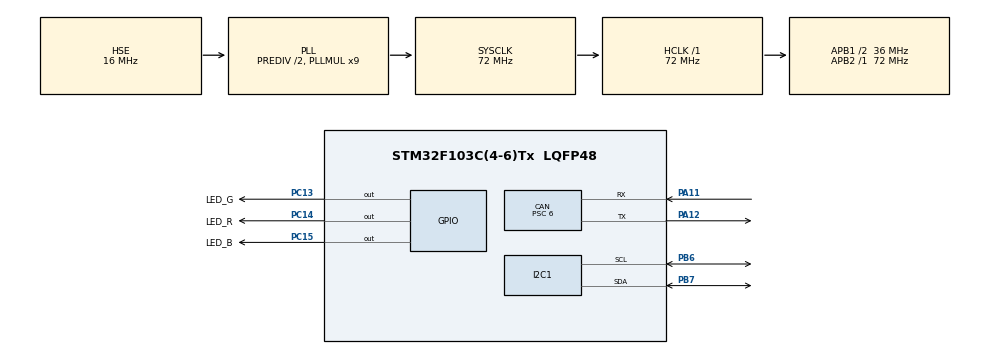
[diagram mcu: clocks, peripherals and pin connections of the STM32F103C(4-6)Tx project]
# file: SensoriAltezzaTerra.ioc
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CAN.BS1=CAN_BS1_3TQ
CAN.BS2=CAN_BS2_2TQ
CAN.CalculateBaudRate=999999
CAN.CalculateTimeBit=1000
CAN.CalculateTimeQuantum=166.66666666666669
CAN.Prescaler=6
CAN.SJW=CAN_SJW_2TQ
I2C1.I2C_Mode=I2C_Standard
Mcu.Family=STM32F1
Mcu.Name=STM32F103C(4-6)Tx
Mcu.Package=LQFP48
NVIC.PriorityGroup=NVIC_PRIORITYGROUP_4
PA11.Mode=CAN_Activate
PA11.Signal=CAN_RX
PA12.Mode=CAN_Activate
PA12.Signal=CAN_TX
PA13.Mode=Serial_Wire
PA13.Signal=SYS_JTMS-SWDIO
PA14.Mode=Serial_Wire
PA14.Signal=SYS_JTCK-SWCLK
PB6.GPIO_Pu=GPIO_PULLUP
PB6.Mode=I2C
PB6.Signal=I2C1_SCL
PB7.GPIO_Pu=GPIO_PULLUP
PB7.Mode=I2C
PB7.Signal=I2C1_SDA
PC13-TAMPER-RTC.GPIO_Label=LED_G
PC13-TAMPER-RTC.PinState=GPIO_PIN_SET
PC13-TAMPER-RTC.Signal=GPIO_Output
PC14-OSC32_IN.GPIO_Label=LED_R
PC14-OSC32_IN.PinState=GPIO_PIN_SET
PC14-OSC32_IN.Signal=GPIO_Output
PC15-OSC32_OUT.GPIO_Label=LED_B
PC15-OSC32_OUT.PinState=GPIO_PIN_SET
PC15-OSC32_OUT.Signal=GPIO_Output
PD0-OSC_IN.Mode=HSE-External-Oscillator
PD0-OSC_IN.Signal=RCC_OSC_IN
PD1-OSC_OUT.Mode=HSE-External-Oscillator
PD1-OSC_OUT.Signal=RCC_OSC_OUT
ProjectManager.HeapSize=0x200
ProjectManager.StackSize=0x400
ProjectManager.TargetToolchain=STM32CubeIDE
RCC.AHBFreq_Value=72000000
RCC.APB1CLKDivider=RCC_HCLK_DIV2
RCC.APB1Freq_Value=36000000
RCC.APB1TimFreq_Value=72000000
RCC.APB2Freq_Value=72000000
RCC.APB2TimFreq_Value=72000000
RCC.HCLKFreq_Value=72000000
RCC.HSEDivPLL=RCC_HSE_PREDIV_DIV2
RCC.HSE_VALUE=16000000
RCC.PLLMUL=RCC_PLL_MUL9
RCC.PLLSourceVirtual=RCC_PLLSOURCE_HSE
RCC.SYSCLKFreq_VALUE=72000000
RCC.SYSCLKSource=RCC_SYSCLKSOURCE_PLLCLK
RCC.USBFreq_Value=72000000
board=custom

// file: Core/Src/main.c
/* USER CODE BEGIN Header */
/**
  ******************************************************************************
  * @file           : main.c
  * @brief          : Main program body
  ******************************************************************************
  * @attention
  *
  * Copyright (c) 2023 STMicroelectronics.
  * All rights reserved.
  *
  * This software is licensed under terms that can be found in the LICENSE file
  * in the root directory of this software component.
  * If no LICENSE file comes with this software, it is provided AS-IS.
  *
  ******************************************************************************
  */
/* USER CODE END Header */
#include "main.h"
#include "can.h"
#include "i2c.h"
#include "gpio.h"

/* USER CODE BEGIN PD */

#define map(x, in_min, in_max, out_min, out_max) ((x - in_min) * (out_max - out_min) / (in_max - in_min) + out_min)

#define ADS_ADDRESS 						(0b01001001	<< 1)	//the last 2 bits depends from the electrical connection (see datasheet)
#define ADS_CONVERSION_REGISTER				0b00000000
#define ADS_CONFIGURATION_REGISTER			0b00000001
#define ADS_LO_THRESH_REGISTER				0b00000010
#define ADS_HI_THRESH_REGISTER				0b00000011

/* USER CODE END PD */

/* USER CODE BEGIN PV */

uint8_t adsBuffer[8];
int16_t adsReading1;
int16_t adsReading2;
float adsVread1;
float adsVread2;
float adsVmod1;
float adsVmod2;
float adsDistance1;
float adsDistance2;

#define voltageConv ((float) (6.114 / 32768.0));

#define BOARD_ID	1

#define BOARD1_CAN_ID	0x318
#define BOARD2_CAN_ID	0x314

#if BOARD_ID == 1

#define BOARD_CAN_ID	BOARD1_CAN_ID

#elif BOARD_ID == 2

#define BOARD_CAN_ID	BOARD2_CAN_ID

#endif

CAN_TxHeaderTypeDef 	pHeader; 						//declare a specific header for message transmissions
CAN_RxHeaderTypeDef 	pRxHeader; 						//declare header for message reception
uint32_t 				TxMailbox;
CAN_FilterTypeDef 		sFilterConfig1;

uint32_t millisCanTransmission = 0;
#define  canTrasmissionDelay			5				//200Hz

uint8_t canTx[8] = {0, 0, 0, 0, 0, 0, 0, 0};
uint8_t canRx[8] = {0, 0, 0, 0, 0, 0, 0, 0};

/* USER CODE END PV */

void SystemClock_Config(void);

int main(void)
{

  /* MCU Configuration--------------------------------------------------------*/

  /* Reset of all peripherals, Initializes the Flash interface and the Systick. */
  HAL_Init();

  /* Configure the system clock */
  SystemClock_Config();

  /* Initialize all configured peripherals */
  MX_GPIO_Init();
  MX_I2C1_Init();
  MX_CAN_Init();
  /* USER CODE BEGIN 2 */
  uint8_t addr[128] = {0x00};

  for (uint8_t i = 0; i < 128; i++){
	  addr[i] = HAL_I2C_IsDeviceReady(&hi2c1, (uint16_t)(i << 1), 3, HAL_MAX_DELAY);
	  HAL_Delay(1);
  }

  pHeader.DLC = 8; 						//give message size of 1 byte
  pHeader.IDE = CAN_ID_STD; 			//set identifier to standard
  pHeader.RTR = CAN_RTR_DATA; 			//set data type to remote transmission request?
  pHeader.StdId = BOARD_CAN_ID; 		//define a standard identifier, used for message identification by filters (switch this for the other microcontroller)

  HAL_CAN_Start(&hcan);

  adsBuffer[0] = ADS_CONFIGURATION_REGISTER;
  adsBuffer[1] = 0b11000001; //MSB					//select ch0
  adsBuffer[2] = 0b10100011; //LSB

  HAL_Delay(1000);

  uint8_t pippo = HAL_I2C_Master_Transmit(&hi2c1, ADS_ADDRESS, adsBuffer, 3, 100);

  if (pippo && 1)
  {
	  while(1)
	  {
		  static uint32_t millisLedBlink = 0;
		  if(millis >= millisLedBlink + 100 && pippo == HAL_ERROR)
		  {
			  HAL_GPIO_TogglePin(LED_R_GPIO_Port, LED_R_Pin);
			  HAL_GPIO_TogglePin(LED_G_GPIO_Port, LED_G_Pin);
			  HAL_GPIO_TogglePin(LED_B_GPIO_Port, LED_B_Pin);

			  millisLedBlink = millis;
		  }

		  if(millis >= millisLedBlink + 1000 && pippo == HAL_BUSY)
		  {
			  HAL_GPIO_TogglePin(LED_R_GPIO_Port, LED_R_Pin);
			  HAL_GPIO_TogglePin(LED_G_GPIO_Port, LED_G_Pin);
			  HAL_GPIO_TogglePin(LED_B_GPIO_Port, LED_B_Pin);

			  millisLedBlink = millis;
		  }
	  }
  }

  HAL_Delay(50);

  /* USER CODE END 2 */

  /* Infinite loop */
  while (1)
  {

    /* USER CODE BEGIN 3 */

	  static uint32_t millisAdcRead = 0;
	  if(millis >= millisAdcRead + 5) //200Hz sampling
	  {
		  static uint8_t sensorToggle = 0;

		  if(sensorToggle == 0)	//read ch0 = SENSOR 1 @ 100Hz
		  {
			  HAL_I2C_Mem_Read(&hi2c1, ADS_ADDRESS, ADS_CONVERSION_REGISTER, 1, adsBuffer, 2, 10);
			  adsReading1 = (adsBuffer[0] << 8 | adsBuffer[1]);
			  adsVread1 = adsReading1 * voltageConv;

#if BOARD_ID == 1
			  adsVmod1 = map(adsVread1, 0.6373, 5.03679, 0.63637, 5.0617);		//taratura con AGILENT 34405A @ 03/05/2023
			  adsDistance1 = map(adsVmod1, 0, 5, 16, 120);
#elif BOARD_ID == 2
			  adsVmod1 = map(adsVread1, 0.62219, 5.0758, 0.62510, 5.0989);		//taratura con AGILENT 34405A @ 03/05/2023
			  adsDistance1 = map(adsVmod1, 0, 5, 16, 120) - 0.12;
#else
			  adsVmod1 = 0;
			  adsDistance1 = map(adsVread1, 0, 5, 16, 120);
#endif

			  adsBuffer[0] = ADS_CONFIGURATION_REGISTER;
			  adsBuffer[1] = 0b11010001; //MSB					//select ch1
			  adsBuffer[2] = 0b10100011; //LSB

			  HAL_I2C_Master_Transmit(&hi2c1, ADS_ADDRESS, adsBuffer, 3, 10);

			  //adsBuffer[0] = 0x00;
			  //HAL_I2C_Master_Transmit(&hi2c1, ADS_ADDRESS, adsBuffer, 1, 100);

			  sensorToggle = 1;
		  }
		  else					//read ch1 = SENSOR 2 @ 100Hz
		  {
			  HAL_I2C_Mem_Read(&hi2c1, ADS_ADDRESS, ADS_CONVERSION_REGISTER, 1, adsBuffer, 2, 10);
			  adsReading2 = (adsBuffer[0] << 8 | adsBuffer[1]);
			  adsVread2 = adsReading2 * voltageConv;

#if BOARD_ID == 1
			  adsVmod2 = map(adsVread2, 0.0987, 5.0053, 0.0990, 5.0295);	//taratura con AGILENT 34405A @ 03/05/2023
			  adsDistance2 = map(adsVmod2, 0, 5, 16, 120) - 0.09;
#elif BOARD_ID == 2
			  adsVmod2 = map(adsVread2, 0.58997, 5.023413, 0.59256, 5.0463);
			  adsDistance2 = map(adsVmod2, 0, 5, 16, 120) - 0.12;
#else
			  adsVmod2 = 0;
			  adsDistance2 = map(adsVread2, 0, 5, 16, 120);					//taratura con AGILENT 34405A @ 03/05/2023
#endif

			  adsBuffer[0] = ADS_CONFIGURATION_REGISTER;
			  adsBuffer[1] = 0b11000001; //MSB					//select ch0
			  adsBuffer[2] = 0b10100011; //LSB

			  HAL_I2C_Master_Transmit(&hi2c1, ADS_ADDRESS, adsBuffer, 3, 10);

			  sensorToggle = 0;
		  }

		  millisAdcRead = millis;
	  }

	  if(millis >= millisCanTransmission + canTrasmissionDelay)					//CAN data transmission
	  {
		  static uint16_t distance1_can = 0;
		  static uint16_t distance2_can = 0;

		  if(adsDistance1 != 0)
			  distance1_can = ((uint16_t) (adsDistance1 * 100));

		  if(adsDistance2 != 0)
			  distance2_can = ((uint16_t) (adsDistance2 * 100));

		  canTx[0] = distance1_can >> 8;
		  canTx[1] = distance1_can;
		  canTx[2] = distance2_can >> 8;
		  canTx[3] = distance2_can;

		  canTx[4] = 0;
		  canTx[5] = 0;
		  canTx[6] = 0;
		  canTx[7] = 0;

		  HAL_CAN_AddTxMessage(&hcan, &pHeader, canTx, &TxMailbox);
		  millisCanTransmission = millis;
	  }

	  if(1)
	  {
		  static uint32_t millisLedBlink = 0;
		  if(millis >= millisLedBlink + 500)
		  {
			  HAL_GPIO_TogglePin(LED_R_GPIO_Port, LED_R_Pin);
			  HAL_GPIO_TogglePin(LED_G_GPIO_Port, LED_G_Pin);
			  HAL_GPIO_TogglePin(LED_B_GPIO_Port, LED_B_Pin);

			  millisLedBlink = millis;
		  }
	  }

  }
  /* USER CODE END 3 */
}

void SystemClock_Config(void)
{
  RCC_OscInitTypeDef RCC_OscInitStruct = {0};
  RCC_ClkInitTypeDef RCC_ClkInitStruct = {0};

  /** Initializes the RCC Oscillators according to the specified parameters
  * in the RCC_OscInitTypeDef structure.
  */
  RCC_OscInitStruct.OscillatorType = RCC_OSCILLATORTYPE_HSE;
  RCC_OscInitStruct.HSEState = RCC_HSE_ON;
  RCC_OscInitStruct.HSEPredivValue = RCC_HSE_PREDIV_DIV2;
  RCC_OscInitStruct.HSIState = RCC_HSI_ON;
  RCC_OscInitStruct.PLL.PLLState = RCC_PLL_ON;
  RCC_OscInitStruct.PLL.PLLSource = RCC_PLLSOURCE_HSE;
  RCC_OscInitStruct.PLL.PLLMUL = RCC_PLL_MUL9;
  if (HAL_RCC_OscConfig(&RCC_OscInitStruct) != HAL_OK)
  {
    Error_Handler();
  }

  /** Initializes the CPU, AHB and APB buses clocks
  */
  RCC_ClkInitStruct.ClockType = RCC_CLOCKTYPE_HCLK|RCC_CLOCKTYPE_SYSCLK
                              |RCC_CLOCKTYPE_PCLK1|RCC_CLOCKTYPE_PCLK2;
  RCC_ClkInitStruct.SYSCLKSource = RCC_SYSCLKSOURCE_PLLCLK;
  RCC_ClkInitStruct.AHBCLKDivider = RCC_SYSCLK_DIV1;
  RCC_ClkInitStruct.APB1CLKDivider = RCC_HCLK_DIV2;
  RCC_ClkInitStruct.APB2CLKDivider = RCC_HCLK_DIV1;

  if (HAL_RCC_ClockConfig(&RCC_ClkInitStruct, FLASH_LATENCY_2) != HAL_OK)
  {
    Error_Handler();
  }
}

void Error_Handler(void)
{
  __disable_irq();
  while (1)
  {
  }
}
